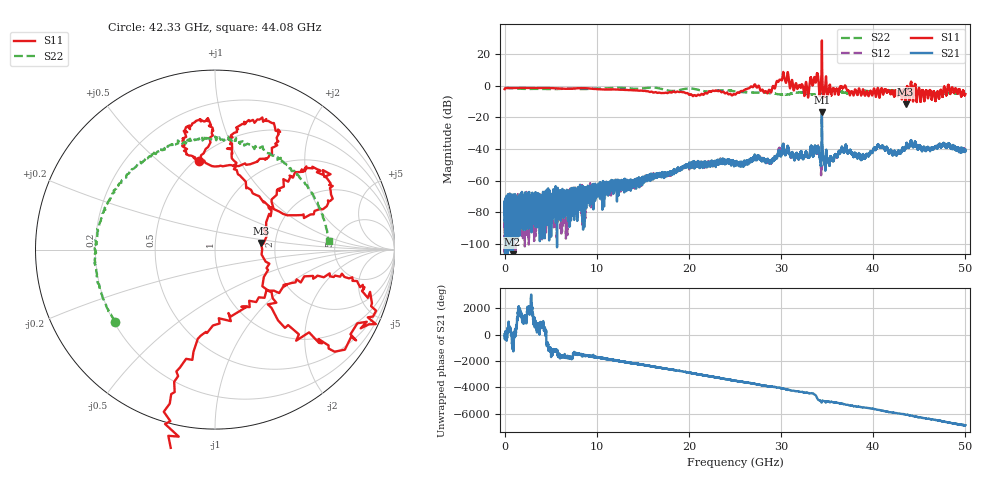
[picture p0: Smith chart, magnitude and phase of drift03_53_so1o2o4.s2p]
!Created with skrf (http://scikit-rf.org).
# Hz S RI R 50.0
!freq ReS11 ImS11 ReS21 ImS21 ReS12 ImS12 ReS22 ImS22
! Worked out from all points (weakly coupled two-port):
!   10000 points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, 5.3 MHz to 50 GHz, reference 50 ohm
!   highest |S21| = -16.60 dB at 34.43 GHz (marker M1); lowest = -114.8 dB at 870.3 MHz (marker M2)
!   lowest |S11| = -11.8 dB at 43.52 GHz (marker M3), VSWR 1.70, Z = 84 + j6.73 ohm
!   |S11| at or under -10 dB: 43.48748 GHz to 43.54481 GHz (57.33 MHz wide, 0.132 % of centre); 43.54562 GHz to 43.55105 GHz (5.432 MHz wide, 0.0125 % of centre); 44.70856 GHz to 44.71211 GHz (3.547 MHz wide, 0.00793 % of centre) (the widest 3 of 5)
!   |S22| runs from -5.8 to -1.1 dB; largest |S21 - S12| = 0.045
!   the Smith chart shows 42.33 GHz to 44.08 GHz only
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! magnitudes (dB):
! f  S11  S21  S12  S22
! 5.3 MHz  -2.1  -80.4  -80.6  -1.3
! 870.3 MHz  -1.4  -114.8  -81.0  -1.5
! 4.985 GHz  -1.4  -88.1  -73.6  -2.1
! 8.34 GHz  -1.5  -72.9  -67.1  -2.1
! 16.67 GHz  -4.4  -55.7  -56.4  -1.5
! 20.26 GHz  -5.4  -49.4  -50.4  -1.7
! 25.01 GHz  -5.5  -48.5  -48.2  -3.5
! 27.02 GHz  -0.3  -46.0  -46.0  -4.2
! 28.72 GHz  -2.5  -48.0  -48.5  -4.5
! 30.14 GHz  4.4  -40.4  -40.9  -5.7
! 32.74 GHz  2.0  -42.1  -42.1  -4.6
! 33.34 GHz  2.6  -39.9  -40.5  -5.6
! 33.82 GHz  4.0  -41.5  -42.3  -5.7
! 34.43 GHz  28.7  -16.6  -18.7  -4.6
! 35.27 GHz  -0.1  -50.6  -48.3  -3.4
! 36.84 GHz  -0.7  -41.6  -41.6  -4.2
! 38.85 GHz  -2.8  -43.7  -44.8  -3.2
! 40.59 GHz  -3.7  -37.9  -38.2  -4.0
! 41.67 GHz  -2.9  -42.0  -42.3  -3.3
! 43.52 GHz  -11.8  -38.9  -38.7  -4.2
! 48.32 GHz  -4.4  -36.9  -38.6  -4.5
! 50 GHz  -5.2  -41.3  -40.6  -4.5
